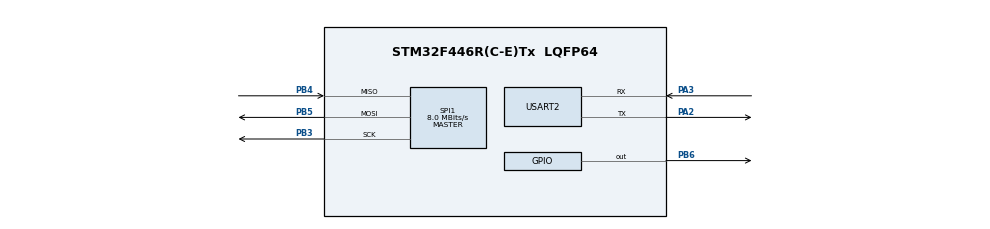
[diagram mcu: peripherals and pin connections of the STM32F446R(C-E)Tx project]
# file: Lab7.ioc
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Dma.Request0=USART2_RX
Dma.Request1=USART2_TX
Dma.USART2_RX.0.Direction=DMA_PERIPH_TO_MEMORY
Dma.USART2_RX.0.FIFOMode=DMA_FIFOMODE_DISABLE
Dma.USART2_RX.0.Instance=DMA1_Stream5
Dma.USART2_RX.0.MemDataAlignment=DMA_MDATAALIGN_BYTE
Dma.USART2_RX.0.MemInc=DMA_MINC_ENABLE
Dma.USART2_RX.0.Mode=DMA_NORMAL
Dma.USART2_RX.0.PeriphDataAlignment=DMA_PDATAALIGN_BYTE
Dma.USART2_RX.0.PeriphInc=DMA_PINC_DISABLE
Dma.USART2_RX.0.Priority=DMA_PRIORITY_LOW
Dma.USART2_TX.1.Direction=DMA_MEMORY_TO_PERIPH
Dma.USART2_TX.1.FIFOMode=DMA_FIFOMODE_DISABLE
Dma.USART2_TX.1.Instance=DMA1_Stream6
Dma.USART2_TX.1.MemDataAlignment=DMA_MDATAALIGN_BYTE
Dma.USART2_TX.1.MemInc=DMA_MINC_ENABLE
Dma.USART2_TX.1.Mode=DMA_NORMAL
Dma.USART2_TX.1.PeriphDataAlignment=DMA_PDATAALIGN_BYTE
Dma.USART2_TX.1.PeriphInc=DMA_PINC_DISABLE
Dma.USART2_TX.1.Priority=DMA_PRIORITY_LOW
FATFS._MAX_SS=4096
FATFS._USE_LFN=1
Mcu.Family=STM32F4
Mcu.Name=STM32F446R(C-E)Tx
Mcu.Package=LQFP64
NVIC.DMA1_Stream5_IRQn=true\:0\:0\:false\:false\:true\:false\:true\:true
NVIC.DMA1_Stream6_IRQn=true\:0\:0\:false\:false\:true\:false\:true\:true
NVIC.PriorityGroup=NVIC_PRIORITYGROUP_4
NVIC.USART2_IRQn=true\:0\:0\:false\:false\:true\:true\:true\:true
PA13.Signal=SYS_JTMS-SWDIO
PA14.Signal=SYS_JTCK-SWCLK
PA2.Mode=Asynchronous
PA2.Signal=USART2_TX
PA3.Mode=Asynchronous
PA3.Signal=USART2_RX
PB3.Mode=Full_Duplex_Master
PB3.Signal=SPI1_SCK
PB4.Mode=Full_Duplex_Master
PB4.Signal=SPI1_MISO
PB5.Mode=Full_Duplex_Master
PB5.Signal=SPI1_MOSI
PB6.GPIO_Speed=GPIO_SPEED_FREQ_MEDIUM
PB6.Signal=GPIO_Output
PC14-OSC32_IN.Signal=RCC_OSC32_IN
PC15-OSC32_OUT.Signal=RCC_OSC32_OUT
PH0-OSC_IN.Signal=RCC_OSC_IN
PH1-OSC_OUT.Signal=RCC_OSC_OUT
ProjectManager.HeapSize=0x200
ProjectManager.StackSize=0x400
ProjectManager.TargetToolchain=STM32CubeIDE
RCC.CortexFreq_Value=16000000
RCC.USBFreq_Value=96000000
RCC.VCOOutputFreq_Value=192000000
SPI1.CalculateBaudRate=8.0 MBits/s
SPI1.Direction=SPI_DIRECTION_2LINES
SPI1.Mode=SPI_MODE_MASTER
SPI1.VirtualType=VM_MASTER
USART2.VirtualMode=VM_ASYNC
VP_FATFS_VS_Generic.Mode=User_defined
board=custom

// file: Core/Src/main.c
/* USER CODE BEGIN Header */
/**
  ******************************************************************************
  * @file           : main.c
  * @brief          : Main program body
  ******************************************************************************
  * @attention
  *
  * Copyright (c) 2025 STMicroelectronics.
  * All rights reserved.
  *
  * This software is licensed under terms that can be found in the LICENSE file
  * in the root directory of this software component.
  * If no LICENSE file comes with this software, it is provided AS-IS.
  *
  ******************************************************************************
  */
/* USER CODE END Header */
#include "main.h"
#include "fatfs.h"

/* USER CODE BEGIN Includes */
#include "fatfs_sd.h"
#include "string.h"
#include "stdio.h"
#include <stdio.h>
#include <string.h>

/* USER CODE END Includes */

/* USER CODE BEGIN PD */
SPI_HandleTypeDef hspi1;
FATFS fs;
FATFS *pfs;
FIL fil;
FRESULT fres;
DWORD fre_clust;
uint32_t totalSpace, freeSpace;
char buffer[100];

/* USER CODE END PD */

SPI_HandleTypeDef hspi1;

UART_HandleTypeDef huart2;
DMA_HandleTypeDef hdma_usart2_rx;
DMA_HandleTypeDef hdma_usart2_tx;

uint8_t received;
uint8_t salida;

void SystemClock_Config(void);
static void MX_GPIO_Init(void);
static void MX_DMA_Init(void);
static void MX_USART2_UART_Init(void);
static void MX_SPI1_Init(void);

/* USER CODE BEGIN 0 */
void transmit_uart(char *string) {
	uint8_t len = strlen(string);
	HAL_UART_Transmit(&huart2, (uint8_t*) string, len, 200);
}

//Función para desplegar las opciones dle Menu
void menu() {
	transmit_uart("\nSeleccione un archivo de texto:\n");
    transmit_uart("1. Perro.txt\n");
    transmit_uart("2. Gato.txt\n");
    transmit_uart("3. Flor.txt\n");
    transmit_uart("4. Salir\n");
    transmit_uart("Selecciona una opcion: ");
}

// Función para leer un archivo de texto desde la SD y enviarlo por UART
void read_text_file(const char *filename) {
    fres = f_open(&fil, filename, FA_READ);
    if (fres == FR_OK) {
    	transmit_uart("\nArchivo abierto correctamente.\n");

        while (f_gets(buffer, sizeof(buffer), &fil)) {
        	transmit_uart(buffer);
        }

        f_close(&fil); // Cerrar archivo después de leer
        if (fres == FR_OK) {
          transmit_uart("The file is closed.\n");
        } else if (fres != FR_OK) {
          transmit_uart("The file was not closed.\n");
        }
    } else {
        transmit_uart("\nError al abrir el archivo.\n");
    }
}

/* USER CODE END 0 */

int main(void)
{

  /* MCU Configuration--------------------------------------------------------*/

  /* Reset of all peripherals, Initializes the Flash interface and the Systick. */
  HAL_Init();

  /* Configure the system clock */
  SystemClock_Config();

  /* Initialize all configured peripherals */
  MX_GPIO_Init();
  MX_DMA_Init();
  MX_USART2_UART_Init();
  MX_SPI1_Init();
  MX_FATFS_Init();
  /* USER CODE BEGIN 2 */
  HAL_Delay(500);
    // Montamos el sistema de la SD
    fres = f_mount(&fs, "/", 0);
      if (fres == FR_OK) {
        transmit_uart("Micro SD card is mounted successfully!\n");
      } else if (fres != FR_OK) {
        transmit_uart("Micro SD card's mount error!\n");
      }

  /* USER CODE END 2 */

  /* Infinite loop */
  while (1)
  {
	  menu();		//Se llama a la configuración del menu

	 	 //Se espera hasta que el usuario ingrese opción
	 	 HAL_UART_Receive(&huart2, (uint8_t*)&received, 1, HAL_MAX_DELAY);

	 	 switch (received) {

	 	 	 case '1':
	 	 		 // Abrimos el archivo en modo lectura
	 	 	     read_text_file("DOG.txt");
	 	 	     break;

	 	 	 case '2':
	 	 	     // Abrimos el archivo en modo lectura
	 	 	     read_text_file("CAT.txt");
	 	 	     break;

	 	 	 case '3':
	 	 	    // Abrimos el archivo en modo lectura
	 	 	    read_text_file("FLOWER.txt");
	 	 	    break;

	 	 	 case '4':
	 	 	    // Se sale del Menu para demontar la SD
	 	 	    transmit_uart("\nSalir del sistema\n");
	 	 	   salida = 1;	//La variable de salida se pone en 1
	 	 	    break;

	 	 	    default: transmit_uart("Ingresa otra opcion\n");
	 	 }

	 	 //Configuración desmontaje del sistema
	 	 if (salida == 1) {
	 	 		  f_mount(NULL, "", 1);
	 	 		  if (fres == FR_OK) {
	 	 		    transmit_uart("The Micro SD card is unmounted!\n");
	 	 		  } else if (fres != FR_OK) {
	 	 		    transmit_uart("The Micro SD was not unmounted!");
	 	 		  }
	 	 	  }

	 	 //Se reinicia la opción del Usuario
	 	 received = 0;

	 	 //La opción de salida se reinicia
	 	 salida = 0;

  }
}

void SystemClock_Config(void)
{
  RCC_OscInitTypeDef RCC_OscInitStruct = {0};
  RCC_ClkInitTypeDef RCC_ClkInitStruct = {0};

  /** Configure the main internal regulator output voltage
  */
  __HAL_RCC_PWR_CLK_ENABLE();
  __HAL_PWR_VOLTAGESCALING_CONFIG(PWR_REGULATOR_VOLTAGE_SCALE3);

  /** Initializes the RCC Oscillators according to the specified parameters
  * in the RCC_OscInitTypeDef structure.
  */
  RCC_OscInitStruct.OscillatorType = RCC_OSCILLATORTYPE_HSI;
  RCC_OscInitStruct.HSIState = RCC_HSI_ON;
  RCC_OscInitStruct.HSICalibrationValue = RCC_HSICALIBRATION_DEFAULT;
  RCC_OscInitStruct.PLL.PLLState = RCC_PLL_NONE;
  if (HAL_RCC_OscConfig(&RCC_OscInitStruct) != HAL_OK)
  {
    Error_Handler();
  }

  /** Initializes the CPU, AHB and APB buses clocks
  */
  RCC_ClkInitStruct.ClockType = RCC_CLOCKTYPE_HCLK|RCC_CLOCKTYPE_SYSCLK
                              |RCC_CLOCKTYPE_PCLK1|RCC_CLOCKTYPE_PCLK2;
  RCC_ClkInitStruct.SYSCLKSource = RCC_SYSCLKSOURCE_HSI;
  RCC_ClkInitStruct.AHBCLKDivider = RCC_SYSCLK_DIV1;
  RCC_ClkInitStruct.APB1CLKDivider = RCC_HCLK_DIV1;
  RCC_ClkInitStruct.APB2CLKDivider = RCC_HCLK_DIV1;

  if (HAL_RCC_ClockConfig(&RCC_ClkInitStruct, FLASH_LATENCY_0) != HAL_OK)
  {
    Error_Handler();
  }
}

static void MX_SPI1_Init(void)
{

  /* SPI1 parameter configuration*/
  hspi1.Instance = SPI1;
  hspi1.Init.Mode = SPI_MODE_MASTER;
  hspi1.Init.Direction = SPI_DIRECTION_2LINES;
  hspi1.Init.DataSize = SPI_DATASIZE_8BIT;
  hspi1.Init.CLKPolarity = SPI_POLARITY_LOW;
  hspi1.Init.CLKPhase = SPI_PHASE_1EDGE;
  hspi1.Init.NSS = SPI_NSS_SOFT;
  hspi1.Init.BaudRatePrescaler = SPI_BAUDRATEPRESCALER_2;
  hspi1.Init.FirstBit = SPI_FIRSTBIT_MSB;
  hspi1.Init.TIMode = SPI_TIMODE_DISABLE;
  hspi1.Init.CRCCalculation = SPI_CRCCALCULATION_DISABLE;
  hspi1.Init.CRCPolynomial = 10;
  if (HAL_SPI_Init(&hspi1) != HAL_OK)
  {
    Error_Handler();
  }

}

static void MX_USART2_UART_Init(void)
{

  huart2.Instance = USART2;
  huart2.Init.BaudRate = 115200;
  huart2.Init.WordLength = UART_WORDLENGTH_8B;
  huart2.Init.StopBits = UART_STOPBITS_1;
  huart2.Init.Parity = UART_PARITY_NONE;
  huart2.Init.Mode = UART_MODE_TX_RX;
  huart2.Init.HwFlowCtl = UART_HWCONTROL_NONE;
  huart2.Init.OverSampling = UART_OVERSAMPLING_16;
  if (HAL_UART_Init(&huart2) != HAL_OK)
  {
    Error_Handler();
  }

}

static void MX_DMA_Init(void)
{

  /* DMA controller clock enable */
  __HAL_RCC_DMA1_CLK_ENABLE();

  /* DMA interrupt init */
  /* DMA1_Stream5_IRQn interrupt configuration */
  HAL_NVIC_SetPriority(DMA1_Stream5_IRQn, 0, 0);
  HAL_NVIC_EnableIRQ(DMA1_Stream5_IRQn);
  /* DMA1_Stream6_IRQn interrupt configuration */
  HAL_NVIC_SetPriority(DMA1_Stream6_IRQn, 0, 0);
  HAL_NVIC_EnableIRQ(DMA1_Stream6_IRQn);

}

static void MX_GPIO_Init(void)
{
  GPIO_InitTypeDef GPIO_InitStruct = {0};

  /* GPIO Ports Clock Enable */
  __HAL_RCC_GPIOC_CLK_ENABLE();
  __HAL_RCC_GPIOH_CLK_ENABLE();
  __HAL_RCC_GPIOA_CLK_ENABLE();
  __HAL_RCC_GPIOB_CLK_ENABLE();

  /*Configure GPIO pin Output Level */
  HAL_GPIO_WritePin(GPIOB, GPIO_PIN_6, GPIO_PIN_RESET);

  /*Configure GPIO pin : PB6 */
  GPIO_InitStruct.Pin = GPIO_PIN_6;
  GPIO_InitStruct.Mode = GPIO_MODE_OUTPUT_PP;
  GPIO_InitStruct.Pull = GPIO_NOPULL;
  GPIO_InitStruct.Speed = GPIO_SPEED_FREQ_MEDIUM;
  HAL_GPIO_Init(GPIOB, &GPIO_InitStruct);

}

void Error_Handler(void)
{
  __disable_irq();
  while (1)
  {
  }
}
